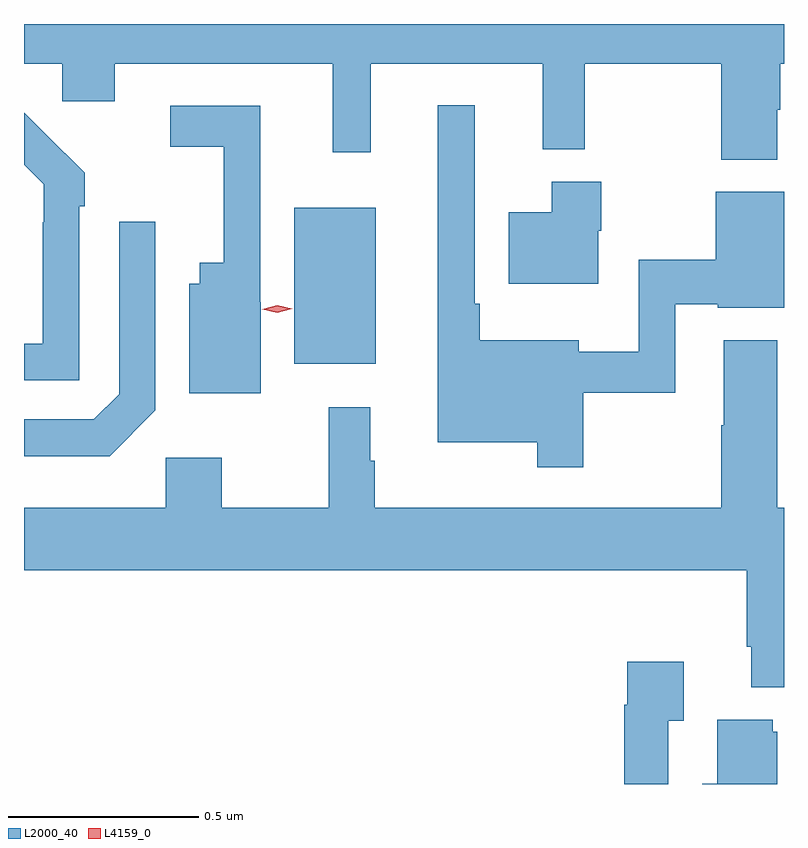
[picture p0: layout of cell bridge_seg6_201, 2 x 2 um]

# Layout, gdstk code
import gdstk
lib = gdstk.Library(unit=1e-6, precision=1e-09)
def R(c, l, rs):  # rectangles x0, y0, x1, y1
    for r in rs: c.add(gdstk.rectangle(r[:2], r[2:], *l))
def P(c, l, *ps):  # polygons
    for p in ps: c.add(gdstk.Polygon(p, *l))
L2000_40 = (2000, 40)
L4159_0 = (4159, 0)

bridge_seg6_201 = lib.new_cell('bridge_seg6_201')
R(bridge_seg6_201, L2000_40, [(330.08,959.867,330.295,960.277)])
P(bridge_seg6_201, L2000_40, [(331.351,960.536),(331.359,960.536),(331.359,960.656),(331.369,960.656),(331.369,960.761),(329.369,960.761),(329.369,960.656),(329.469,960.656),(329.469,960.558),(329.608,960.558),(329.608,960.656),(330.182,960.656),(330.182,960.423),(330.281,960.423),(330.281,960.656),(330.734,960.656),(330.734,960.431),(330.844,960.431),(330.844,960.656),(331.204,960.656),(331.204,960.404),(331.351,960.404)],
  [(330.841,959.79),(331.083,959.79),(331.083,960.024),(331.194,960.024),(331.194,960.014),(331.369,960.014),(331.369,960.319),(331.19,960.319),(331.19,960.14),(330.987,960.14),(330.987,959.899),(330.829,959.899),(330.829,959.929),(330.568,959.929),(330.568,960.025),(330.555,960.025),(330.555,960.547),(330.458,960.547),(330.458,959.66),(330.72,959.66),(330.72,959.595),(330.841,959.595)],
  [(329.992,960.029),(329.991,960.029),(329.991,960.546),(329.754,960.546),(329.754,960.438),(329.894,960.438),(329.894,960.133),(329.831,960.133),(329.831,960.078),(329.804,960.078),(329.804,959.789),(329.992,959.789)],
  [(329.514,960.281),(329.529,960.281),(329.529,960.369),(329.424,960.474),(329.423,960.473),(329.369,960.527),(329.369,960.391),(329.421,960.339),(329.421,960.239),(329.418,960.239),(329.418,959.919),(329.369,959.919),(329.369,959.823),(329.514,959.823)],
  [(330.88,960.217),(330.888,960.217),(330.888,960.346),(330.758,960.346),(330.758,960.265),(330.644,960.265),(330.644,960.077),(330.88,960.077)],
  [(329.715,959.745),(329.715,960.241),(329.619,960.241),(329.619,959.787),(329.553,959.721),(329.369,959.721),(329.369,959.624),(329.594,959.624)],
  [(331.369,959.488),(331.351,959.488),(331.351,959.929),(331.211,959.929),(331.211,959.705),(331.204,959.705),(331.204,959.488),(330.292,959.488),(330.292,959.612),(330.28,959.612),(330.28,959.752),(330.171,959.752),(330.171,959.488),(329.889,959.488),(329.889,959.62),(329.742,959.62),(329.742,959.488),(329.369,959.488),(329.369,959.324),(331.271,959.324),(331.271,959.122),(331.283,959.122),(331.283,959.015),(331.369,959.015)],
  [(331.065,958.927),(331.105,958.927),(331.105,959.083),(330.957,959.083),(330.957,958.97),(330.949,958.97),(330.949,958.761),(331.065,958.761)],
  [(331.351,958.899),(331.34,958.899),(331.34,958.93),(331.193,958.93),(331.193,958.762),(331.154,958.762),(331.154,958.761),(331.351,958.761)])
P(bridge_seg6_201, L4159_0, [(330.036,960.001),(329.996,960.01),(329.996,960.011),(329.996,960.011),(330.035,960.021),(330.075,960.012),(330.075,960.012),(330.075,960.012)])

lib.write_gds('bridge_seg6_201.gds')
